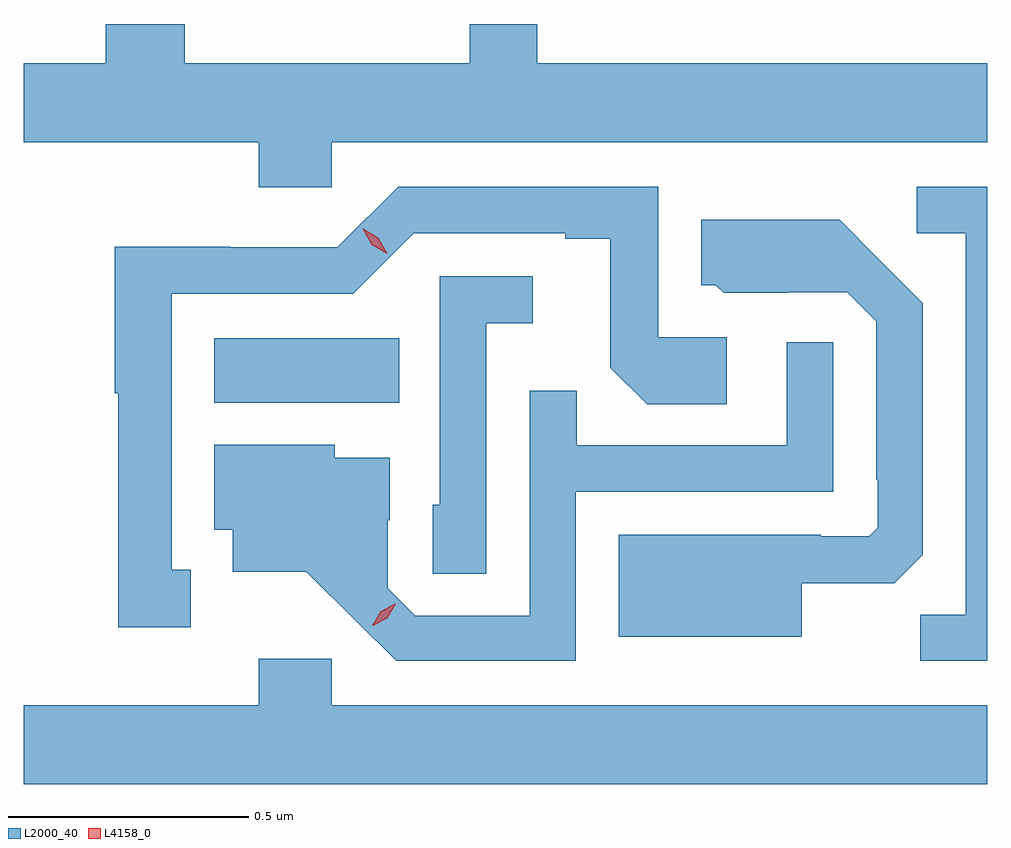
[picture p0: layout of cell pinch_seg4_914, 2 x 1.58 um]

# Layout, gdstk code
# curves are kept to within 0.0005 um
import gdstk
lib = gdstk.Library(unit=1e-6, precision=1e-09)
def R(c, l, rs):  # rectangles x0, y0, x1, y1
    for r in rs: c.add(gdstk.rectangle(r[:2], r[2:], *l))
def P(c, l, *ps):  # polygons
    for p in ps: c.add(gdstk.Polygon(p, *l))
L2000_40 = (2000, 40)
L4158_0 = (4158, 0)

pinch_seg4_914 = lib.new_cell('pinch_seg4_914')
R(pinch_seg4_914, L2000_40, [(729.224,826.916,729.608,827.05)])
P(pinch_seg4_914, L2000_40, [(729.468,827.456),(730.829,827.456),(730.829,827.62),(729.895,827.62),(729.895,827.702),(729.755,827.702),(729.755,827.62),(729.163,827.62),(729.163,827.702),(728.999,827.702),(728.999,827.62),(728.829,827.62),(728.829,827.456),(729.317,827.456),(729.317,827.363),(729.468,827.363)],
  [(730.829,827.364),(730.683,827.364),(730.683,827.268),(730.785,827.268),(730.785,826.475),(730.69,826.475),(730.69,826.38),(730.829,826.38)],
  [(729.175,826.569),(729.136,826.569),(729.136,827.142),(729.513,827.142),(729.639,827.268),(729.953,827.268),(729.953,827.256),(730.047,827.256),(730.047,826.988),(730.123,826.912),(730.288,826.912),(730.288,827.052),(730.146,827.052),(730.146,827.364),(729.606,827.364),(729.48,827.238),(729.258,827.238),(729.258,827.24),(729.018,827.24),(729.018,826.935),(729.025,826.935),(729.025,826.449),(729.175,826.449)],
  [(730.444,826.541),(730.636,826.541),(730.695,826.6),(730.695,827.122),(730.523,827.296),(730.235,827.296),(730.235,827.16),(730.266,827.16),(730.282,827.144),(730.416,827.144),(730.416,827.145),(730.539,827.145),(730.599,827.085),(730.599,826.756),(730.602,826.756),(730.602,826.656),(730.584,826.638),(730.484,826.638),(730.484,826.642),(730.064,826.642),(730.064,826.43),(730.444,826.43)],
  [(729.789,827.081),(729.886,827.081),(729.886,827.178),(729.693,827.178),(729.693,826.704),(729.678,826.704),(729.678,826.561),(729.789,826.561)],
  [(729.975,826.731),(730.509,826.731),(730.509,827.041),(730.413,827.041),(730.413,826.827),(729.977,826.827),(729.977,826.94),(729.879,826.94),(729.879,826.473),(729.642,826.473),(729.585,826.53),(729.585,826.672),(729.589,826.672),(729.589,826.801),(729.474,826.801),(729.474,826.828),(729.224,826.828),(729.224,826.652),(729.263,826.652),(729.263,826.565),(729.415,826.565),(729.602,826.38),(729.975,826.38)],
  [(730.829,826.288),(729.468,826.288),(729.468,826.384),(729.317,826.384),(729.317,826.288),(728.829,826.288),(728.829,826.124),(730.829,826.124)])
P(pinch_seg4_914, L4158_0, [(729.552,826.453),(729.552,826.453),(729.57,826.483),(729.6,826.498),(729.601,826.498),(729.601,826.498),(729.583,826.468),(729.553,826.453)],
  [(729.583,827.225),(729.551,827.244),(729.533,827.277),(729.533,827.277),(729.534,827.277),(729.565,827.258),(729.583,827.225),(729.583,827.225)])

lib.write_gds('pinch_seg4_914.gds')
